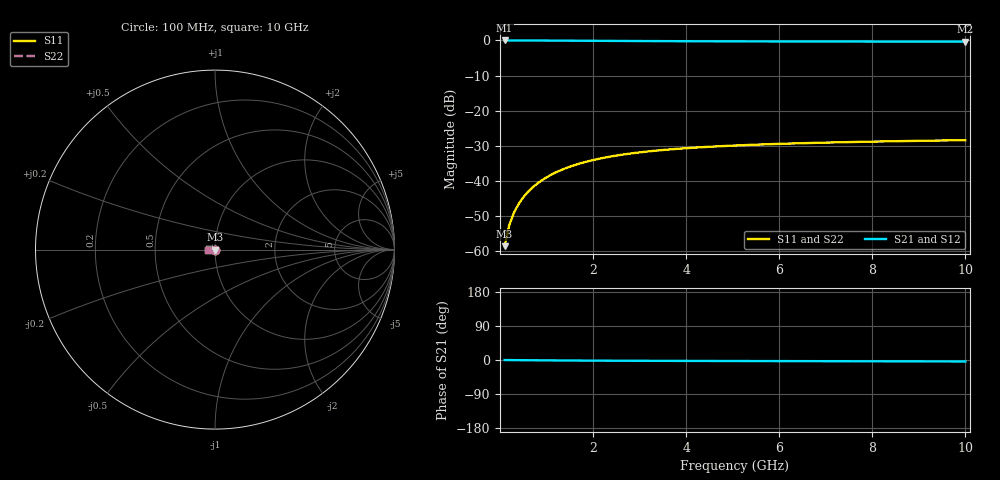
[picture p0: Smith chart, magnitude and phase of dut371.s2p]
! Touchstone file exported from HFSS 2024.1.0
!  File:  C:/UserFiles/LocalFiles/RDL_TSV_Batchsim/temp_TSV1_371_1779621909.aedt
!  Generated:  07:30:34 PM May 24, 2026
!  Design:  TSV1
!  Project:  temp_TSV1_371_1779621909
!  Setup:  Setup1
!  Solution:  Sweep
! Variables:
!  dtsv = 14.04um
!  hbump = 3um
!  htsv = 55.3um
!  lrdl = 252.1521522um
!  p = 40
!  p1 = 57.82um
!  t = 500um
!  trdl = 3um
!  wrdl = 24.89489489um
# GHz S MA R 50.000000
! Terminal data exported
! Port[1] = TSV22_T1
! Port[2] = TSV22_T2
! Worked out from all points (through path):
!   100 points, 100 MHz to 10 GHz, reference 50 ohm
!   highest |S21| = 0.00 dB at 100 MHz (marker M1); lowest = -0.3 dB at 10 GHz (marker M2)
!   lowest |S11| = -58.7 dB at 100 MHz (marker M3), VSWR 1.00, Z = 50 - j0.117 ohm
!   |S11| at or under -10 dB: start of sweep to end of sweep
!   |S22| runs from -58.7 to -28.4 dB; largest |S21 - S12| = 6.1e-15
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0.1  0.001166 -88.7  0.9999 -0.1  0.9999 -0.1  0.001166 -88.7
! Gamma 0 0 0 0
! Port Impedance 50 0 50 0
0.2  0.00233 -92.2  0.9998 -0.2  0.9998 -0.2  0.00233 -92.2
0.3  0.003491 -94.7  0.9995 -0.3  0.9995 -0.3  0.003491 -94.7
0.4  0.004645 -96.9  0.9992 -0.4  0.9992 -0.4  0.004645 -96.9
0.5  0.005785 -99.1  0.9989 -0.5  0.9989 -0.5  0.005785 -99.1
0.6  0.006908 -101.1  0.9984 -0.6  0.9984 -0.6  0.006908 -101.1
0.7  0.00801 -103.2  0.9979 -0.7  0.9979 -0.7  0.00801 -103.2
0.8  0.009089 -105.2  0.9974 -0.8  0.9974 -0.8  0.009089 -105.2
0.9  0.01014 -107.1  0.9968 -0.9  0.9968 -0.9  0.01014 -107.1
1.1  0.01216 -110.8  0.9954 -1.1  0.9954 -1.1  0.01216 -110.8
1.4  0.01496 -116.1  0.9932 -1.3  0.9932 -1.3  0.01496 -116.1
1.6  0.01666 -119.4  0.9916 -1.4  0.9916 -1.4  0.01666 -119.4
1.8  0.01824 -122.5  0.99 -1.6  0.99 -1.6  0.01824 -122.5
2.1  0.02037 -126.9  0.9876 -1.7  0.9876 -1.7  0.02037 -126.9
2.5  0.02282 -132.2  0.9845 -1.9  0.9845 -1.9  0.02282 -132.2
2.9  0.02489 -136.8  0.9817 -2.1  0.9817 -2.1  0.02489 -136.8
3.4  0.02702 -142.0  0.9785 -2.3  0.9785 -2.3  0.02702 -142.0
4.2  0.02967 -149.0  0.9743 -2.5  0.9743 -2.5  0.02967 -149.0
5.1  0.03186 -155.4  0.9707 -2.7  0.9707 -2.7  0.03186 -155.4
6.7  0.03455 -164.5  0.9662 -3.1  0.9662 -3.1  0.03455 -164.5
8.4  0.03649 -172.1  0.9631 -3.5  0.9631 -3.5  0.03649 -172.1
10  0.03786 -178.0  0.9611 -3.8  0.9611 -3.8  0.03786 -178.0
